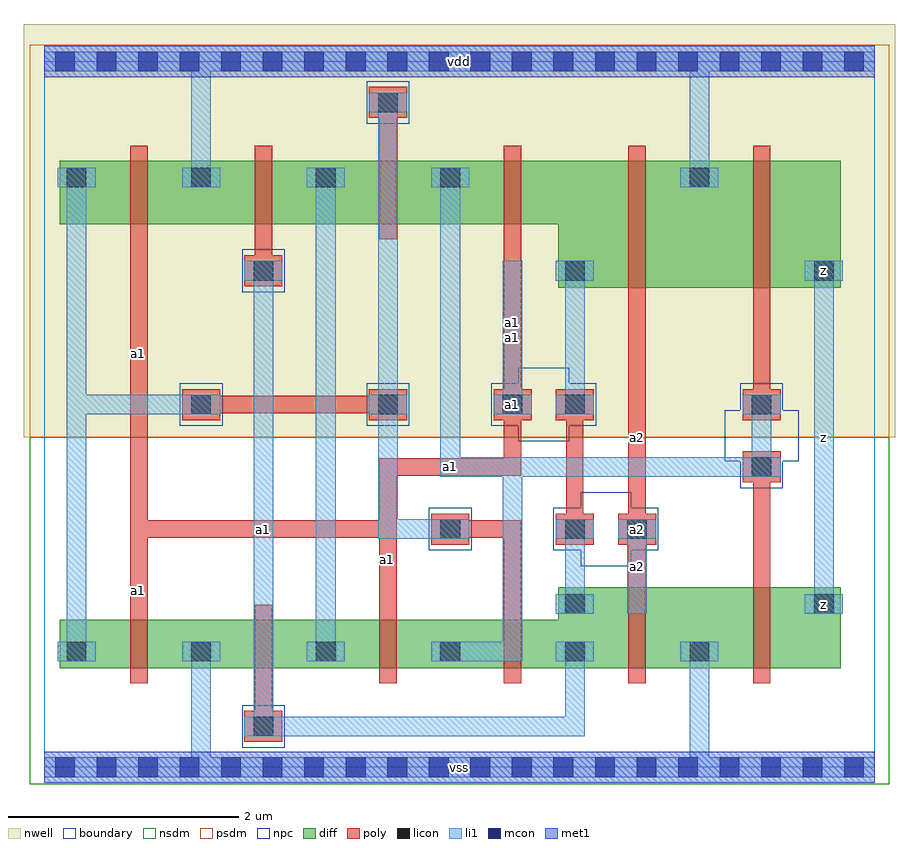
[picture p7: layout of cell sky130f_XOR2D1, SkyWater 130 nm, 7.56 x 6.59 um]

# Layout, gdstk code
import gdstk
lib = gdstk.Library(unit=1e-6, precision=1e-09)
def R(c, l, rs):  # rectangles x0, y0, x1, y1
    for r in rs: c.add(gdstk.rectangle(r[:2], r[2:], *l))
def A(c, l, x, y, w, h, nx, ny, dx, dy):  # array of equal rectangles
    R(c, l, [(x+i*dx, y+j*dy, x+i*dx+w, y+j*dy+h) for i in range(nx) for j in range(ny)])
def P(c, l, *ps):  # polygons
    for p in ps: c.add(gdstk.Polygon(p, *l))
L0_0 = (0, 0)
nwell = (64, 20)
diff = (65, 20)
poly = (66, 20)
licon = (66, 44)
li1 = (67, 20)
mcon = (67, 44)
met1 = (68, 20)
nsdm = (93, 44)
psdm = (94, 20)
npc = (95, 20)
boundary = (235, 4)

sky130f_xor2d1 = lib.new_cell('sky130f_XOR2D1')
R(sky130f_xor2d1, nwell, [(-0.18,2.86,7.38,6.445)])
A(sky130f_xor2d1, diff, 0.135, 0.86, 1.37, 0.42, 4, 1, 1.08, 0)
A(sky130f_xor2d1, diff, 0.135, 0.86, 0.29, 0.29, 6, 1, 1.08, 0)
A(sky130f_xor2d1, diff, 0.135, 4.71, 1.37, 0.55, 4, 1, 1.08, 0)
A(sky130f_xor2d1, diff, 0.135, 4.97, 0.29, 0.29, 4, 1, 1.08, 0)
R(sky130f_xor2d1, diff, [(4.455,0.86,5.825,1.56), (5.535,0.86,6.905,1.56), (4.455,1.27,4.745,1.56), (6.615,1.27,6.905,1.56), (4.455,4.16,5.825,5.26), (4.455,4.16,4.745,4.45), (5.535,4.16,6.905,5.26), (6.615,4.16,6.905,4.45), (5.535,4.97,5.825,5.26)])
A(sky130f_xor2d1, poly, 0.745, 0.73, 0.15, 0.68, 4, 1, 1.08, 0)
A(sky130f_xor2d1, poly, 0.745, 4.58, 0.15, 0.81, 4, 1, 1.08, 0)
R(sky130f_xor2d1, poly, [(1.735,0.22,2.065,0.49), (1.825,0.28,1.975,1.08), (5.065,0.73,5.215,1.69), (6.145,0.73,6.295,1.69), (0.745,0.93,0.895,2.14), (2.905,0.93,3.055,2.68), (3.985,0.93,4.135,2.14), (5.065,1.34,5.215,4.38), (6.145,1.34,6.295,2.68), (3.355,1.93,3.685,2.2), (4.435,1.93,4.765,2.2), (4.975,1.93,5.305,2.2), (0.745,1.99,3.055,2.14), (0.745,1.99,0.895,5.19), (3.445,1.99,4.135,2.14), (4.525,1.99,4.675,3.22), (6.055,2.47,6.385,2.74), (6.055,2.47,6.385,2.74), (2.905,2.53,4.135,2.68), (3.985,2.53,4.135,5.19), (1.195,3.01,1.525,3.28), (2.815,3.01,3.145,3.28), (3.895,3.01,4.225,3.28), (4.435,3.01,4.765,3.28), (6.055,3.01,6.385,3.28), (1.285,3.07,3.055,3.22), (6.145,3.07,6.295,4.38), (5.065,4.03,5.215,5.39), (6.145,4.03,6.295,5.39), (1.735,4.17,2.065,4.44), (1.825,4.23,1.975,5.19), (2.905,5.04,3.055,5.84), (2.815,5.63,3.145,5.9)])
A(sky130f_xor2d1, licon, 0.195, 0.92, 0.17, 0.17, 6, 1, 1.08, 0)
A(sky130f_xor2d1, licon, 0.195, 5.03, 0.17, 0.17, 4, 1, 1.08, 0)
R(sky130f_xor2d1, licon, [(1.815,0.27,1.985,0.44), (4.515,1.33,4.685,1.5), (6.675,1.33,6.845,1.5), (3.435,1.98,3.605,2.15), (4.515,1.98,4.685,2.15), (5.055,1.98,5.225,2.15), (6.135,2.52,6.305,2.69), (6.135,2.52,6.305,2.69), (1.275,3.06,1.445,3.23), (2.895,3.06,3.065,3.23), (3.975,3.06,4.145,3.23), (4.515,3.06,4.685,3.23), (6.135,3.06,6.305,3.23), (1.815,4.22,1.985,4.39), (4.515,4.22,4.685,4.39), (6.675,4.22,6.845,4.39), (5.595,5.03,5.765,5.2), (2.895,5.68,3.065,5.85)])
A(sky130f_xor2d1, li1, 0.115, 0.92, 0.33, 0.17, 6, 1, 1.08, 0)
A(sky130f_xor2d1, li1, 0.115, 5.03, 0.33, 0.17, 4, 1, 1.08, 0)
R(sky130f_xor2d1, li1, [(0,-0.085,7.2,0.085), (1.275,0.06,1.445,1.09), (5.595,0.06,5.765,1.09), (1.735,0.27,2.065,0.44), (1.815,0.27,4.685,0.44), (1.815,0.27,1.985,4.39), (4.515,0.27,4.685,1.09), (0.195,0.92,0.365,5.2), (2.355,0.92,2.525,5.2), (3.435,0.92,4.145,1.09), (3.975,0.92,4.145,2.69), (4.435,1.33,4.765,1.5), (4.515,1.33,4.685,2.15), (5.055,1.33,5.225,2.15), (6.595,1.33,6.925,1.5), (6.675,1.33,6.845,4.39), (2.895,1.98,3.605,2.15), (2.895,1.98,3.065,5.85), (3.355,1.98,3.685,2.15), (4.435,1.98,4.765,2.15), (4.975,1.98,5.305,2.15), (3.435,2.52,6.305,2.69), (3.435,2.52,3.605,5.2), (3.975,2.52,6.305,2.69), (6.055,2.52,6.385,2.69), (6.055,2.52,6.385,2.69), (6.135,2.52,6.305,3.23), (0.195,3.06,1.445,3.23), (1.195,3.06,1.525,3.23), (2.815,3.06,3.145,3.23), (3.895,3.06,4.225,3.23), (3.975,3.06,4.145,4.39), (4.435,3.06,4.765,3.23), (4.515,3.06,4.685,4.39), (6.055,3.06,6.385,3.23), (1.735,4.22,2.065,4.39), (4.435,4.22,4.765,4.39), (6.595,4.22,6.925,4.39), (1.275,5.03,1.445,6.06), (5.515,5.03,5.845,5.2), (5.595,5.03,5.765,6.06), (2.815,5.68,3.145,5.85), (0,6.035,7.2,6.205)])
A(sky130f_xor2d1, mcon, 0.095, -0.085, 0.17, 0.17, 20, 2, 0.36, 6.12)
R(sky130f_xor2d1, met1, [(0,-0.135,7.2,0.135), (0,5.985,7.2,6.255)])
R(sky130f_xor2d1, nsdm, [(-0.125,-0.145,7.325,0.145), (-0.125,0.145,7.325,2.86)])
R(sky130f_xor2d1, psdm, [(-0.125,2.86,7.325,5.975), (-0.125,5.975,7.325,6.265)])
R(sky130f_xor2d1, npc, [(1.715,0.17,2.085,0.54), (3.335,1.88,3.705,2.25), (1.175,2.96,1.545,3.33), (2.795,2.96,3.165,3.33), (1.715,4.12,2.085,4.49), (2.795,5.58,3.165,5.95)])
P(sky130f_xor2d1, npc, [(4.65,1.745),(4.65,1.88),(4.415,1.88),(4.415,2.25),(4.65,2.25),(4.65,2.385),(5.09,2.385),(5.09,2.25),(5.325,2.25),(5.325,1.88),(5.09,1.88),(5.09,1.745)],
  [(6.035,2.42),(6.035,2.655),(5.9,2.655),(5.9,3.095),(6.035,3.095),(6.035,3.33),(6.405,3.33),(6.405,3.095),(6.54,3.095),(6.54,2.655),(6.405,2.655),(6.405,2.42)],
  [(4.11,2.825),(4.11,2.96),(3.875,2.96),(3.875,3.33),(4.11,3.33),(4.11,3.465),(4.55,3.465),(4.55,3.33),(4.785,3.33),(4.785,2.96),(4.55,2.96),(4.55,2.825)])
R(sky130f_xor2d1, boundary, [(0,0,7.2,6.12)])
sky130f_xor2d1.add(gdstk.FlexPath([(0.115,0.355),(6.925,0.355)], 0, ends="flush", simple_path=True, layer=0, datatype=0))  # L0_0
sky130f_xor2d1.add(gdstk.FlexPath([(0.115,1.005),(6.925,1.005)], 0, ends="flush", simple_path=True, layer=0, datatype=0))  # L0_0
sky130f_xor2d1.add(gdstk.FlexPath([(0.115,1.415),(6.925,1.415)], 0, ends="flush", simple_path=True, layer=0, datatype=0))  # L0_0
sky130f_xor2d1.add(gdstk.FlexPath([(0.115,2.065),(6.925,2.065)], 0, ends="flush", simple_path=True, layer=0, datatype=0))  # L0_0
sky130f_xor2d1.add(gdstk.FlexPath([(0.115,2.605),(6.925,2.605)], 0, ends="flush", simple_path=True, layer=0, datatype=0))  # L0_0
sky130f_xor2d1.add(gdstk.FlexPath([(0.115,3.145),(6.925,3.145)], 0, ends="flush", simple_path=True, layer=0, datatype=0))  # L0_0
sky130f_xor2d1.add(gdstk.FlexPath([(0.115,4.305),(6.925,4.305)], 0, ends="flush", simple_path=True, layer=0, datatype=0))  # L0_0
sky130f_xor2d1.add(gdstk.FlexPath([(0.115,4.775),(6.925,4.775)], 0, ends="flush", simple_path=True, layer=0, datatype=0))  # L0_0
sky130f_xor2d1.add(gdstk.FlexPath([(0.115,5.115),(6.925,5.115)], 0, ends="flush", simple_path=True, layer=0, datatype=0))  # L0_0
sky130f_xor2d1.add(gdstk.FlexPath([(0.115,5.765),(6.925,5.765)], 0, ends="flush", simple_path=True, layer=0, datatype=0))  # L0_0
sky130f_xor2d1.add(gdstk.FlexPath([(0.28,0.06),(0.28,6.06)], 0, ends="flush", simple_path=True, layer=0, datatype=0))  # L0_0
sky130f_xor2d1.add(gdstk.FlexPath([(0.82,0.06),(0.82,6.06)], 0, ends="flush", simple_path=True, layer=0, datatype=0))  # L0_0
sky130f_xor2d1.add(gdstk.FlexPath([(1.36,0.06),(1.36,6.06)], 0, ends="flush", simple_path=True, layer=0, datatype=0))  # L0_0
sky130f_xor2d1.add(gdstk.FlexPath([(1.9,0.06),(1.9,6.06)], 0, ends="flush", simple_path=True, layer=0, datatype=0))  # L0_0
sky130f_xor2d1.add(gdstk.FlexPath([(2.44,0.06),(2.44,6.06)], 0, ends="flush", simple_path=True, layer=0, datatype=0))  # L0_0
sky130f_xor2d1.add(gdstk.FlexPath([(2.98,0.06),(2.98,6.06)], 0, ends="flush", simple_path=True, layer=0, datatype=0))  # L0_0
sky130f_xor2d1.add(gdstk.FlexPath([(3.52,0.06),(3.52,6.06)], 0, ends="flush", simple_path=True, layer=0, datatype=0))  # L0_0
sky130f_xor2d1.add(gdstk.FlexPath([(4.06,0.06),(4.06,6.06)], 0, ends="flush", simple_path=True, layer=0, datatype=0))  # L0_0
sky130f_xor2d1.add(gdstk.FlexPath([(4.6,0.06),(4.6,6.06)], 0, ends="flush", simple_path=True, layer=0, datatype=0))  # L0_0
sky130f_xor2d1.add(gdstk.FlexPath([(5.14,0.06),(5.14,6.06)], 0, ends="flush", simple_path=True, layer=0, datatype=0))  # L0_0
sky130f_xor2d1.add(gdstk.FlexPath([(5.68,0.06),(5.68,6.06)], 0, ends="flush", simple_path=True, layer=0, datatype=0))  # L0_0
sky130f_xor2d1.add(gdstk.FlexPath([(6.22,0.06),(6.22,6.06)], 0, ends="flush", simple_path=True, layer=0, datatype=0))  # L0_0
sky130f_xor2d1.add(gdstk.FlexPath([(6.76,0.06),(6.76,6.06)], 0, ends="flush", simple_path=True, layer=0, datatype=0))  # L0_0
sky130f_xor2d1.add(gdstk.Label('z', (6.76,1.415), layer=65, texttype=20))
sky130f_xor2d1.add(gdstk.Label('z', (6.76,4.305), layer=65, texttype=20))
sky130f_xor2d1.add(gdstk.Label('a1', (2.98,1.805), layer=66, texttype=20))
sky130f_xor2d1.add(gdstk.Label('a1', (3.52,2.605), layer=66, texttype=20))
sky130f_xor2d1.add(gdstk.Label('a1', (4.06,3.86), layer=66, texttype=20))
sky130f_xor2d1.add(gdstk.Label('a1', (0.82,1.535), layer=66, texttype=20))
sky130f_xor2d1.add(gdstk.Label('a1', (1.9,2.065), layer=66, texttype=20))
sky130f_xor2d1.add(gdstk.Label('a1', (0.82,3.59), layer=66, texttype=20))
sky130f_xor2d1.add(gdstk.Label('a1', (4.06,3.145), layer=66, texttype=20))
sky130f_xor2d1.add(gdstk.Label('a2', (5.14,2.86), layer=66, texttype=20))
sky130f_xor2d1.add(gdstk.Label('a2', (5.14,2.065), layer=66, texttype=20))
sky130f_xor2d1.add(gdstk.Label('z', (6.76,1.415), layer=66, texttype=44))
sky130f_xor2d1.add(gdstk.Label('z', (6.76,4.305), layer=66, texttype=44))
sky130f_xor2d1.add(gdstk.Label('a1', (4.06,3.145), layer=66, texttype=44))
sky130f_xor2d1.add(gdstk.Label('a2', (5.14,2.065), layer=66, texttype=44))
sky130f_xor2d1.add(gdstk.Label('a1', (4.06,3.145), layer=67, texttype=5))
sky130f_xor2d1.add(gdstk.Label('a1', (4.06,3.725), layer=67, texttype=5))
sky130f_xor2d1.add(gdstk.Label('a2', (5.14,2.065), layer=67, texttype=5))
sky130f_xor2d1.add(gdstk.Label('a2', (5.14,1.74), layer=67, texttype=5))
sky130f_xor2d1.add(gdstk.Label('z', (6.76,1.415), layer=67, texttype=5))
sky130f_xor2d1.add(gdstk.Label('z', (6.76,4.305), layer=67, texttype=5))
sky130f_xor2d1.add(gdstk.Label('z', (6.76,2.86), layer=67, texttype=5))
sky130f_xor2d1.add(gdstk.Label('vss', (3.6,0), layer=67, texttype=5))
sky130f_xor2d1.add(gdstk.Label('vdd', (3.6,6.12), layer=67, texttype=5))
sky130f_xor2d1.add(gdstk.Label('vss', (3.6,0), layer=68, texttype=5))
sky130f_xor2d1.add(gdstk.Label('vdd', (3.6,6.12), layer=68, texttype=5))

lib.write_gds('sky130f_XOR2D1.gds')
